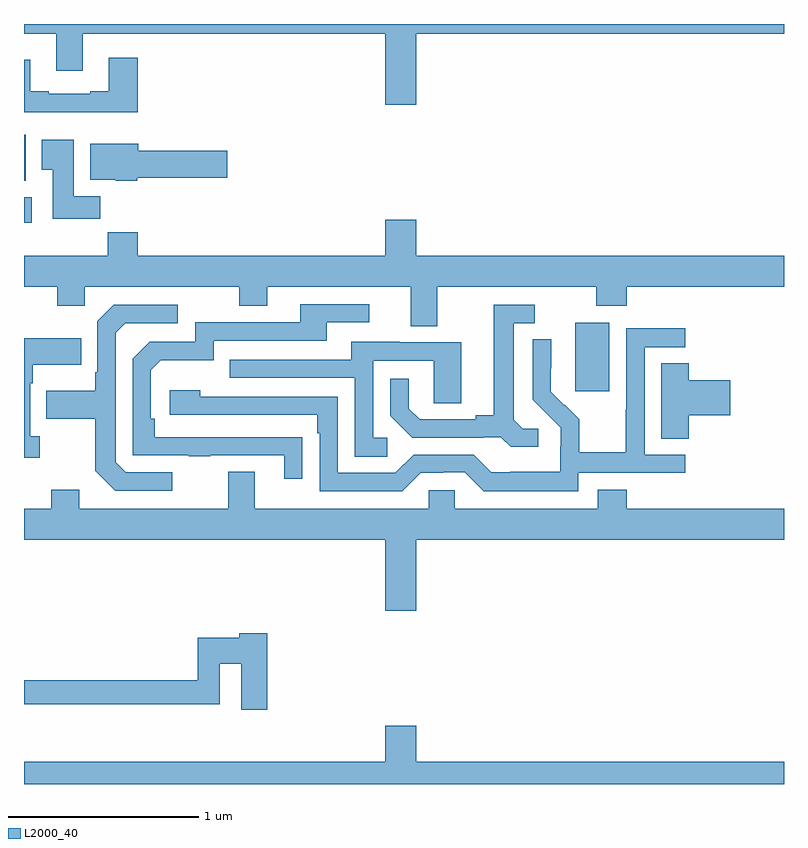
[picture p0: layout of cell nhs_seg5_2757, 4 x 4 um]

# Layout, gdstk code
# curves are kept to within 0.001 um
import gdstk
lib = gdstk.Library(unit=1e-6, precision=1e-09)
def R(c, l, rs):  # rectangles x0, y0, x1, y1
    for r in rs: c.add(gdstk.rectangle(r[:2], r[2:], *l))
def P(c, l, *ps):  # polygons
    for p in ps: c.add(gdstk.Polygon(p, *l))
L2000_40 = (2000, 40)

nhs_seg5_2757 = lib.new_cell('nhs_seg5_2757')
R(nhs_seg5_2757, L2000_40, [(273.902,866.865,274.081,867.226), (271,867.752,271.042,867.886), (271,867.974,271.009,868.216)])
P(nhs_seg5_2757, L2000_40, [(273.064,868.748),(275,868.748),(275,868.799),(271,868.799),(271,868.748),(271.169,868.748),(271.169,868.554),(271.309,868.554),(271.309,868.748),(272.9,868.748),(272.9,868.374),(273.064,868.374)],
  [(271.598,868.621),(271.445,868.621),(271.445,868.444),(271.349,868.444),(271.349,868.431),(271.129,868.431),(271.129,868.444),(271.033,868.444),(271.033,868.612),(271,868.612),(271,868.334),(271.598,868.334)],
  [(271.4,867.892),(271.261,867.892),(271.261,868.189),(271.094,868.189),(271.094,868.033),(271.151,868.033),(271.151,867.774),(271.4,867.774)],
  [(271.596,867.991),(272.071,867.991),(272.071,868.133),(271.6,868.133),(271.6,868.168),(271.349,868.168),(271.349,867.98),(271.482,867.98),(271.482,867.974),(271.596,867.974)],
  [(273.175,867.416),(274.012,867.416),(274.012,867.317),(274.172,867.317),(274.172,867.416),(275,867.416),(275,867.58),(273.064,867.58),(273.064,867.769),(272.9,867.769),(272.9,867.58),(271.598,867.58),(271.598,867.704),(271.441,867.704),(271.441,867.58),(271,867.58),(271,867.416),(271.174,867.416),(271.174,867.317),(271.32,867.317),(271.32,867.416),(272.134,867.416),(272.134,867.317),(272.281,867.317),(272.281,867.416),(273.035,867.416),(273.035,867.208),(273.175,867.208)],
  [(272.465,866.624),(271.688,866.625),(271.688,866.722),(271.668,866.722),(271.668,866.976),(271.721,867.029),(271.998,867.029),(271.998,867.132),(272.593,867.132),(272.593,867.228),(272.818,867.228),(272.818,867.324),(272.453,867.324),(272.453,867.228),(271.902,867.228),(271.902,867.126),(271.662,867.126),(271.572,867.036),(271.572,866.529),(271.867,866.529),(271.867,866.524),(271.979,866.524),(271.979,866.529),(272.369,866.529),(272.369,866.406),(272.465,866.406)],
  [(273.706,866.67),(273.624,866.67),(273.577,866.717),(273.577,867.225),(273.688,867.225),(273.688,867.321),(273.473,867.321),(273.473,866.741),(273.377,866.741),(273.377,866.718),(273.082,866.718),(273.025,866.775),(273.025,866.932),(272.928,866.932),(272.928,866.738),(273.044,866.622),(273.416,866.622),(273.416,866.625),(273.51,866.625),(273.562,866.573),(273.706,866.573)],
  [(271.78,866.439),(271.536,866.439),(271.482,866.493),(271.482,867.174),(271.533,867.225),(271.81,867.225),(271.81,867.321),(271.473,867.321),(271.386,867.234),(271.386,866.965),(271.374,866.965),(271.374,866.869),(271.117,866.869),(271.117,866.722),(271.374,866.722),(271.374,866.449),(271.479,866.343),(271.78,866.343)],
  [(273.918,866.436),(274.48,866.436),(274.48,866.532),(274.266,866.532),(274.266,867.099),(274.48,867.099),(274.48,867.198),(274.17,867.198),(274.17,866.768),(274.168,866.768),(274.168,866.545),(273.923,866.545),(273.923,866.719),(273.846,866.796),(273.843,866.793),(273.773,866.864),(273.774,867.14),(273.678,867.14),(273.678,866.822),(273.824,866.674),(273.824,866.577),(273.822,866.577),(273.822,866.443),(273.559,866.443),(273.559,866.439),(273.459,866.439),(273.366,866.532),(273.051,866.532),(272.955,866.436),(272.652,866.436),(272.652,866.838),(271.928,866.838),(271.928,866.872),(271.767,866.872),(271.767,866.742),(272.543,866.742),(272.543,866.645),(272.556,866.645),(272.556,866.34),(272.991,866.34),(273.087,866.436),(273.206,866.436),(273.206,866.439),(273.321,866.439),(273.421,866.339),(273.918,866.339)],
  [(271.084,866.63),(271.032,866.63),(271.032,866.909),(271.045,866.909),(271.045,867.005),(271.301,867.005),(271.301,867.145),(271,867.145),(271,866.517),(271.084,866.517)],
  [(272.911,866.622),(272.838,866.622),(272.838,867.027),(273.156,867.027),(273.156,866.803),(273.301,866.803),(273.301,867.123),(272.977,867.123),(272.977,867.127),(272.723,867.127),(272.723,867.033),(272.083,867.033),(272.083,866.937),(272.742,866.937),(272.742,866.521),(272.911,866.521)],
  [(274.499,866.741),(274.717,866.741),(274.717,866.924),(274.499,866.924),(274.499,867.014),(274.355,867.014),(274.355,866.617),(274.499,866.617)],
  [(273.064,866.084),(275,866.084),(275,866.248),(274.172,866.248),(274.172,866.347),(274.019,866.347),(274.019,866.248),(273.267,866.248),(273.267,866.346),(273.129,866.346),(273.129,866.248),(272.215,866.248),(272.215,866.443),(272.075,866.443),(272.075,866.248),(271.291,866.248),(271.291,866.347),(271.144,866.347),(271.144,866.248),(271,866.248),(271,866.084),(272.9,866.084),(272.9,865.71),(273.064,865.71)],
  [(272.279,865.592),(272.132,865.592),(272.132,865.568),(271.915,865.568),(271.915,865.346),(271,865.346),(271,865.218),(272.031,865.218),(272.031,865.432),(272.144,865.432),(272.144,865.191),(272.279,865.191)],
  [(275,864.916),(273.064,864.916),(273.064,865.105),(272.9,865.105),(272.9,864.916),(271,864.916),(271,864.799),(275,864.799)])

lib.write_gds('nhs_seg5_2757.gds')
